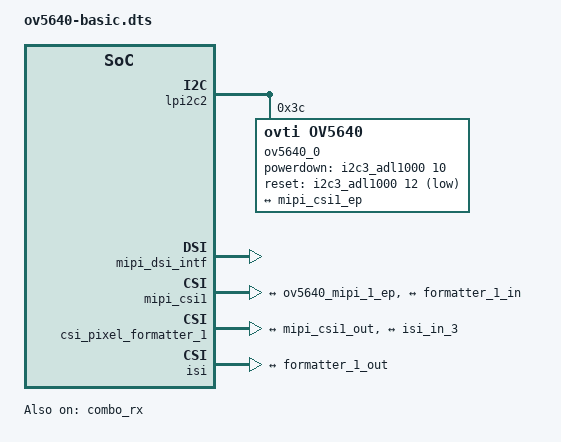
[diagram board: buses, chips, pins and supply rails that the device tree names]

&scmi_iomuxc {
	pinctrl_csi_mclk: csi_mclk {
		fsl,pins = <
			IMX95_PAD_CCM_CLKO1__CCMSRCGPCMIX_TOP_CLKO_1	0x39e
		>;
	};
};


&lpi2c2 {
	#address-cells = <1>;
	#size-cells = <0>;
	status = "okay";


	ov5640_0: ov5640_mipi@3c {
		compatible = "ovti,ov5640";
		reg = <0x3c>;
		pinctrl-names = "default";
		pinctrl-0 = <&pinctrl_csi_mclk>;
		clocks = <&scmi_clk IMX95_CLK_CCMCKO1>;
		clock-names = "xclk";
		assigned-clocks = <&scmi_clk IMX95_CLK_CCMCKO1>;
		assigned-clock-parents = <&osc_24m>;
		assigned-clock-rates = <24000000>;
		powerdown-gpios = <&i2c3_adl1000 10 GPIO_ACTIVE_HIGH>; 	//CN_GPIO0_CAM0_PWR#_1V8
		reset-gpios = <&i2c3_adl1000 12 GPIO_ACTIVE_LOW>;	//CN_GPIO2_CAM0_RST#_1V8
		status = "okay";

		port {
			ov5640_mipi_1_ep: endpoint {
				remote-endpoint = <&mipi_csi1_ep>;
				data-lanes = <1 2>;
				clock-lanes = <0>;
			};
		};
	};
};

&display_stream_csr {
	status = "disabled";
};

&display_master_csr {
	status = "disabled";
};

&mipi_tx_phy_csr {
	status = "disabled";
};

&mipi_dsi_intf {
	status = "okay";
};

&combo_rx {
	status = "okay";
};

&mipi_csi1 {
	status = "okay";

	ports {
		#address-cells = <1>;
		#size-cells = <0>;

		port@0 {
			reg = <0>;
			mipi_csi1_ep: endpoint {
				remote-endpoint = <&ov5640_mipi_1_ep>;
				data-lanes = <1 2>;
				clock-lanes = <0>;
			};
		};

		port@1 {
			reg = <1>;
				mipi_csi1_out: endpoint {
				remote-endpoint = <&formatter_1_in>;
			};
		};
	};
};


&csi_pixel_formatter_1 {
	status = "okay";

	ports {
		#address-cells = <1>;
		#size-cells = <0>;

		port@0 {
			reg = <0>;

			formatter_1_in: endpoint {
				remote-endpoint = <&mipi_csi1_out>;
			};
		};

		port@1 {
			reg = <1>;

			formatter_1_out: endpoint {
				remote-endpoint = <&isi_in_3>;
			};
		};
	};
};

&isi {
	status = "okay";

	ports {
		#address-cells = <1>;
		#size-cells = <0>;

		port@3 {
			reg = <3>;

			isi_in_3: endpoint {
				remote-endpoint = <&formatter_1_out>;
			};
		};
	};
};
